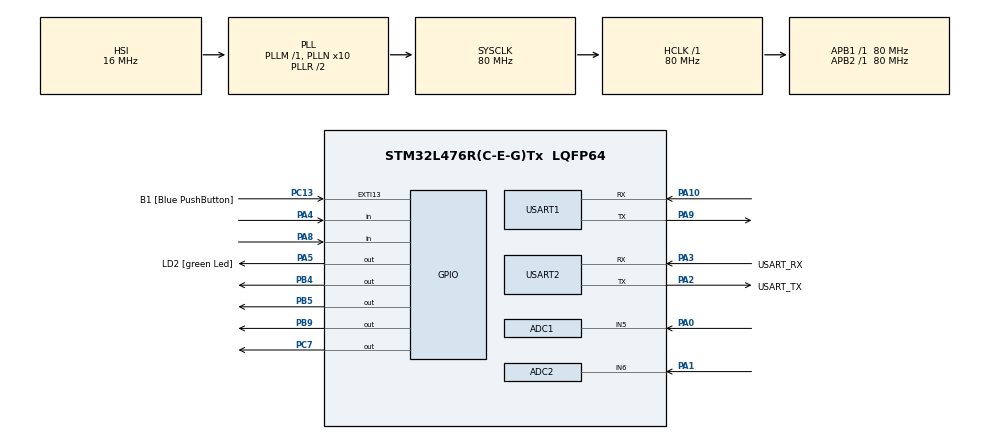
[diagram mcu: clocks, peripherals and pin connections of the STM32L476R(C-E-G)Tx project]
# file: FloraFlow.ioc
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ADC1.Channel-1\#ChannelRegularConversion=ADC_CHANNEL_5
ADC1.NbrOfConversionFlag=1
ADC1.OffsetNumber-1\#ChannelRegularConversion=ADC_OFFSET_NONE
ADC1.Rank-1\#ChannelRegularConversion=1
ADC1.SamplingTime-1\#ChannelRegularConversion=ADC_SAMPLETIME_2CYCLES_5
ADC1.master=1
ADC2.Channel-0\#ChannelRegularConversion=ADC_CHANNEL_6
ADC2.NbrOfConversionFlag=1
ADC2.OffsetNumber-0\#ChannelRegularConversion=ADC_OFFSET_NONE
ADC2.Rank-0\#ChannelRegularConversion=1
ADC2.SamplingTime-0\#ChannelRegularConversion=ADC_SAMPLETIME_2CYCLES_5
Mcu.Family=STM32L4
Mcu.Name=STM32L476R(C-E-G)Tx
Mcu.Package=LQFP64
NVIC.PriorityGroup=NVIC_PRIORITYGROUP_4
PA0.Signal=ADCx_IN5
PA1.Signal=ADCx_IN6
PA10.Mode=Asynchronous
PA10.Signal=USART1_RX
PA13\ (JTMS-SWDIO).GPIO_Label=TMS
PA13\ (JTMS-SWDIO).Mode=Serial_Wire
PA13\ (JTMS-SWDIO).Signal=SYS_JTMS-SWDIO
PA14\ (JTCK-SWCLK).GPIO_Label=TCK
PA14\ (JTCK-SWCLK).Mode=Serial_Wire
PA14\ (JTCK-SWCLK).Signal=SYS_JTCK-SWCLK
PA2.GPIO_Label=USART_TX
PA2.GPIO_Mode=GPIO_MODE_AF_PP
PA2.GPIO_PuPd=GPIO_NOPULL
PA2.GPIO_Speed=GPIO_SPEED_FREQ_VERY_HIGH
PA2.Mode=Asynchronous
PA2.Signal=USART2_TX
PA3.GPIO_Label=USART_RX
PA3.GPIO_Mode=GPIO_MODE_AF_PP
PA3.GPIO_PuPd=GPIO_NOPULL
PA3.GPIO_Speed=GPIO_SPEED_FREQ_VERY_HIGH
PA3.Mode=Asynchronous
PA3.Signal=USART2_RX
PA4.Signal=GPIO_Input
PA5.GPIO_Label=LD2 [green Led]
PA5.GPIO_ModeDefaultOutputPP=GPIO_MODE_OUTPUT_PP
PA5.GPIO_PuPd=GPIO_NOPULL
PA5.GPIO_Speed=GPIO_SPEED_FREQ_LOW
PA5.Signal=GPIO_Output
PA8.Signal=GPIO_Input
PA9.Mode=Asynchronous
PA9.Signal=USART1_TX
PB3\ (JTDO-TRACESWO).GPIO_Label=SWO
PB3\ (JTDO-TRACESWO).Signal=SYS_JTDO-SWO
PB4\ (NJTRST).Signal=GPIO_Output
PB5.Signal=GPIO_Output
PB9.Signal=GPIO_Output
PC13.GPIO_Label=B1 [Blue PushButton]
PC13.GPIO_ModeDefaultEXTI=GPIO_MODE_IT_FALLING
PC13.GPIO_PuPd=GPIO_NOPULL
PC13.Signal=GPXTI13
PC14-OSC32_IN\ (PC14).Mode=LSE-External-Oscillator
PC14-OSC32_IN\ (PC14).Signal=RCC_OSC32_IN
PC15-OSC32_OUT\ (PC15).Mode=LSE-External-Oscillator
PC15-OSC32_OUT\ (PC15).Signal=RCC_OSC32_OUT
PC7.Signal=GPIO_Output
PH0-OSC_IN\ (PH0).Signal=RCC_OSC_IN
PH1-OSC_OUT\ (PH1).Signal=RCC_OSC_OUT
ProjectManager.HeapSize=0x200
ProjectManager.StackSize=0x400
ProjectManager.TargetToolchain=STM32CubeIDE
RCC.ADCFreq_Value=64000000
RCC.AHBFreq_Value=80000000
RCC.APB1Freq_Value=80000000
RCC.APB1TimFreq_Value=80000000
RCC.APB2Freq_Value=80000000
RCC.APB2TimFreq_Value=80000000
RCC.CortexFreq_Value=80000000
RCC.HCLKFreq_Value=80000000
RCC.HSE_VALUE=8000000
RCC.HSI_VALUE=16000000
RCC.MSI_VALUE=4000000
RCC.PLLN=10
RCC.PLLSourceVirtual=RCC_PLLSOURCE_HSI
RCC.PREFETCH_ENABLE=1
RCC.SYSCLKFreq_VALUE=80000000
RCC.SYSCLKSource=RCC_SYSCLKSOURCE_PLLCLK
RCC.USBFreq_Value=64000000
RCC.VCOOutputFreq_Value=160000000
SH.ADCx_IN5.0=ADC1_IN5,IN5-Single-Ended
SH.ADCx_IN6.0=ADC2_IN6,IN6-Single-Ended
SH.ADCx_IN6.1=ADC1_IN6
USART1.VirtualMode-Asynchronous=VM_ASYNC
USART2.VirtualMode-Asynchronous=VM_ASYNC
board=NUCLEO-L476RG

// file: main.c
/* USER CODE BEGIN Header */
/**
  ******************************************************************************
  * @file           : main.c
  * @brief          : Main program body
  ******************************************************************************
  * @attention
  *
  * Copyright (c) 2024 STMicroelectronics.
  * All rights reserved.
  *
  * This software is licensed under terms that can be found in the LICENSE file
  * in the root directory of this software component.
  * If no LICENSE file comes with this software, it is provided AS-IS.
  *
  ******************************************************************************
  */
/* USER CODE END Header */
#include "main.h"

ADC_HandleTypeDef hadc1;
ADC_HandleTypeDef hadc2;

UART_HandleTypeDef huart1;
UART_HandleTypeDef huart2;

/* USER CODE BEGIN PV */

// O medidor de umidade vai de 1100 (molhado) a 4095 (seco)
int16_t REGAR_SUCULENTA = 3600; // precisa de - água
int16_t TEMPO_SUCULENTA = 2000;

int16_t REGAR_JIBOIA = 3400; // precisa de +/- água
int16_t TEMPO_JIBOIA = 3000;

int16_t REGAR_ROSA = 3200; // precisa de + água
int16_t TEMPO_ROSA = 4000;

int16_t humidity_value = 0;
int16_t water_time = 0;

typedef enum {
    ESPERANDO,
	MEDINDO_UMIDADE,
    REGANDO_PLANTA,
	IRRIGACAO_FINALIZADA
} State;

/* USER CODE END PV */

void SystemClock_Config(void);
void PeriphCommonClock_Config(void);
static void MX_GPIO_Init(void);
static void MX_USART2_UART_Init(void);
static void MX_ADC1_Init(void);
static void MX_ADC2_Init(void);
static void MX_USART1_UART_Init(void);
/* USER CODE BEGIN PFP */
int16_t readPotVoltage(void);
int16_t readSensorVoltage(void);
void showState(State state);
void turnRedLedOn(void);
void turnYellowLedOn(void);
void turnBlueLedOn(void);
void turnGreenLedOn(void);
void turnLedsOff(void);
void sendChar(unsigned char c, int uart_number);
void sendString(char * str, int uart_number);
char readChar(int uart_number);
/* USER CODE END PFP */

/* USER CODE BEGIN 0 */

void sendChar(unsigned char c, int uart_number){
	unsigned char pChar = c;
	if(uart_number == 1)
		HAL_UART_Transmit(&huart1, &pChar,1 ,HAL_MAX_DELAY );
	else if(uart_number == 2)
		HAL_UART_Transmit(&huart2, &pChar, 1,HAL_MAX_DELAY );
}

void sendString(char * str, int uart_number){
	if(uart_number == 1)
		HAL_UART_Transmit(&huart1, (uint8_t *)str, strlen(str) ,HAL_MAX_DELAY );
	else if(uart_number == 2)
		HAL_UART_Transmit(&huart2, (uint8_t *)str, strlen(str) ,HAL_MAX_DELAY );
}

char readChar(int uart_number){
	unsigned char caracter;

	if(uart_number == 1){
		while(HAL_UART_Receive(&huart1, &caracter, 1, HAL_MAX_DELAY) != HAL_OK);
	}
	else if(uart_number == 2){
		while(HAL_UART_Receive(&huart2, &caracter, 1, HAL_MAX_DELAY) != HAL_OK);
	}
	return caracter;
}

/* USER CODE END 0 */

int main(void)
{

  /* MCU Configuration--------------------------------------------------------*/

  /* Reset of all peripherals, Initializes the Flash interface and the Systick. */
  HAL_Init();

  /* Configure the system clock */
  SystemClock_Config();

/* Configure the peripherals common clocks */
  PeriphCommonClock_Config();

  /* Initialize all configured peripherals */
  MX_GPIO_Init();
  MX_USART2_UART_Init();
  MX_ADC1_Init();
  MX_ADC2_Init();
  MX_USART1_UART_Init();

  /* Infinite loop */
  /* USER CODE BEGIN WHILE */

  // Enquanto o botão não for clicado
  while(!HAL_GPIO_ReadPin(GPIOA, GPIO_PIN_8)) {
	  // Ler o potenciômetro e escolher a planta a partir do valor dele
	  int voltage = readPotVoltage();

	  if(voltage > 0 && voltage < 1000) {
		  humidity_value = REGAR_SUCULENTA;
		  water_time = TEMPO_SUCULENTA;
		  turnRedLedOn();
	  } else if(voltage > 1000 && voltage < 2500) {
		  humidity_value = REGAR_JIBOIA;
		  water_time = TEMPO_JIBOIA;
		  turnYellowLedOn();
	  } else if (voltage > 2500) {
		  humidity_value = REGAR_ROSA;
		  water_time = TEMPO_ROSA;
		  turnBlueLedOn();
	  } else {
		  humidity_value = REGAR_ROSA;
		  water_time = TEMPO_ROSA;
		  turnBlueLedOn();
	  }

  }

  if(humidity_value == REGAR_SUCULENTA) {
  	sendString("Suculenta\n", 1);
  } else if(humidity_value == REGAR_JIBOIA) {
	sendString("Jiboia\n", 1);
  } else if (humidity_value == REGAR_ROSA) {
	sendString("Rosa\n", 1);
  }

  turnLedsOff();
  State current_state = ESPERANDO;

  while (1)
  {

	int16_t voltageSensor = 0;
	showState(current_state);
    /* USER CODE END WHILE */

    /* USER CODE BEGIN 3 */

	switch(current_state) {
		case ESPERANDO:
			// Simulando o tempo de iniciar a aplicação
			HAL_Delay(3000);
			current_state = MEDINDO_UMIDADE;

		break;

		case MEDINDO_UMIDADE:
			// Ler o medidor de umidade
			voltageSensor = readSensorVoltage(); //4054 (seco) - 1200 (molhado)

			if(voltageSensor >= humidity_value) {
				// Iniciar a irrigação caso a umidade esteja menor que o valor necessário
				current_state = REGANDO_PLANTA;
			}

		break;

		case REGANDO_PLANTA:
			// Finalizar a irrigação caso a umidade esteja maior que o valor necessário
			current_state = IRRIGACAO_FINALIZADA;
		break;

		case IRRIGACAO_FINALIZADA:
			// Simulando o tempo de espera para medir novamente
			HAL_Delay(3000);

			current_state = MEDINDO_UMIDADE;

		break;
	}

  }
  /* USER CODE END 3 */
}

void SystemClock_Config(void)
{
  RCC_OscInitTypeDef RCC_OscInitStruct = {0};
  RCC_ClkInitTypeDef RCC_ClkInitStruct = {0};

  /** Configure the main internal regulator output voltage
  */
  if (HAL_PWREx_ControlVoltageScaling(PWR_REGULATOR_VOLTAGE_SCALE1) != HAL_OK)
  {
    Error_Handler();
  }

  /** Initializes the RCC Oscillators according to the specified parameters
  * in the RCC_OscInitTypeDef structure.
  */
  RCC_OscInitStruct.OscillatorType = RCC_OSCILLATORTYPE_HSI;
  RCC_OscInitStruct.HSIState = RCC_HSI_ON;
  RCC_OscInitStruct.HSICalibrationValue = RCC_HSICALIBRATION_DEFAULT;
  RCC_OscInitStruct.PLL.PLLState = RCC_PLL_ON;
  RCC_OscInitStruct.PLL.PLLSource = RCC_PLLSOURCE_HSI;
  RCC_OscInitStruct.PLL.PLLM = 1;
  RCC_OscInitStruct.PLL.PLLN = 10;
  RCC_OscInitStruct.PLL.PLLP = RCC_PLLP_DIV7;
  RCC_OscInitStruct.PLL.PLLQ = RCC_PLLQ_DIV2;
  RCC_OscInitStruct.PLL.PLLR = RCC_PLLR_DIV2;
  if (HAL_RCC_OscConfig(&RCC_OscInitStruct) != HAL_OK)
  {
    Error_Handler();
  }

  /** Initializes the CPU, AHB and APB buses clocks
  */
  RCC_ClkInitStruct.ClockType = RCC_CLOCKTYPE_HCLK|RCC_CLOCKTYPE_SYSCLK
                              |RCC_CLOCKTYPE_PCLK1|RCC_CLOCKTYPE_PCLK2;
  RCC_ClkInitStruct.SYSCLKSource = RCC_SYSCLKSOURCE_PLLCLK;
  RCC_ClkInitStruct.AHBCLKDivider = RCC_SYSCLK_DIV1;
  RCC_ClkInitStruct.APB1CLKDivider = RCC_HCLK_DIV1;
  RCC_ClkInitStruct.APB2CLKDivider = RCC_HCLK_DIV1;

  if (HAL_RCC_ClockConfig(&RCC_ClkInitStruct, FLASH_LATENCY_4) != HAL_OK)
  {
    Error_Handler();
  }
}

void PeriphCommonClock_Config(void)
{
  RCC_PeriphCLKInitTypeDef PeriphClkInit = {0};

  /** Initializes the peripherals clock
  */
  PeriphClkInit.PeriphClockSelection = RCC_PERIPHCLK_ADC;
  PeriphClkInit.AdcClockSelection = RCC_ADCCLKSOURCE_PLLSAI1;
  PeriphClkInit.PLLSAI1.PLLSAI1Source = RCC_PLLSOURCE_HSI;
  PeriphClkInit.PLLSAI1.PLLSAI1M = 1;
  PeriphClkInit.PLLSAI1.PLLSAI1N = 8;
  PeriphClkInit.PLLSAI1.PLLSAI1P = RCC_PLLP_DIV7;
  PeriphClkInit.PLLSAI1.PLLSAI1Q = RCC_PLLQ_DIV2;
  PeriphClkInit.PLLSAI1.PLLSAI1R = RCC_PLLR_DIV2;
  PeriphClkInit.PLLSAI1.PLLSAI1ClockOut = RCC_PLLSAI1_ADC1CLK;
  if (HAL_RCCEx_PeriphCLKConfig(&PeriphClkInit) != HAL_OK)
  {
    Error_Handler();
  }
}

static void MX_ADC1_Init(void)
{

  ADC_MultiModeTypeDef multimode = {0};
  ADC_ChannelConfTypeDef sConfig = {0};

  /** Common config
  */
  hadc1.Instance = ADC1;
  hadc1.Init.ClockPrescaler = ADC_CLOCK_ASYNC_DIV1;
  hadc1.Init.Resolution = ADC_RESOLUTION_12B;
  hadc1.Init.DataAlign = ADC_DATAALIGN_RIGHT;
  hadc1.Init.ScanConvMode = ADC_SCAN_DISABLE;
  hadc1.Init.EOCSelection = ADC_EOC_SINGLE_CONV;
  hadc1.Init.LowPowerAutoWait = DISABLE;
  hadc1.Init.ContinuousConvMode = DISABLE;
  hadc1.Init.NbrOfConversion = 1;
  hadc1.Init.DiscontinuousConvMode = DISABLE;
  hadc1.Init.ExternalTrigConv = ADC_SOFTWARE_START;
  hadc1.Init.ExternalTrigConvEdge = ADC_EXTERNALTRIGCONVEDGE_NONE;
  hadc1.Init.DMAContinuousRequests = DISABLE;
  hadc1.Init.Overrun = ADC_OVR_DATA_PRESERVED;
  hadc1.Init.OversamplingMode = DISABLE;
  if (HAL_ADC_Init(&hadc1) != HAL_OK)
  {
    Error_Handler();
  }

  /** Configure the ADC multi-mode
  */
  multimode.Mode = ADC_MODE_INDEPENDENT;
  if (HAL_ADCEx_MultiModeConfigChannel(&hadc1, &multimode) != HAL_OK)
  {
    Error_Handler();
  }

  /** Configure Regular Channel
  */
  sConfig.Channel = ADC_CHANNEL_5;
  sConfig.Rank = ADC_REGULAR_RANK_1;
  sConfig.SamplingTime = ADC_SAMPLETIME_2CYCLES_5;
  sConfig.SingleDiff = ADC_SINGLE_ENDED;
  sConfig.OffsetNumber = ADC_OFFSET_NONE;
  sConfig.Offset = 0;
  if (HAL_ADC_ConfigChannel(&hadc1, &sConfig) != HAL_OK)
  {
    Error_Handler();
  }

}

static void MX_ADC2_Init(void)
{

  ADC_ChannelConfTypeDef sConfig = {0};

  /** Common config
  */
  hadc2.Instance = ADC2;
  hadc2.Init.ClockPrescaler = ADC_CLOCK_ASYNC_DIV1;
  hadc2.Init.Resolution = ADC_RESOLUTION_12B;
  hadc2.Init.DataAlign = ADC_DATAALIGN_RIGHT;
  hadc2.Init.ScanConvMode = ADC_SCAN_DISABLE;
  hadc2.Init.EOCSelection = ADC_EOC_SINGLE_CONV;
  hadc2.Init.LowPowerAutoWait = DISABLE;
  hadc2.Init.ContinuousConvMode = DISABLE;
  hadc2.Init.NbrOfConversion = 1;
  hadc2.Init.DiscontinuousConvMode = DISABLE;
  hadc2.Init.ExternalTrigConv = ADC_SOFTWARE_START;
  hadc2.Init.ExternalTrigConvEdge = ADC_EXTERNALTRIGCONVEDGE_NONE;
  hadc2.Init.DMAContinuousRequests = DISABLE;
  hadc2.Init.Overrun = ADC_OVR_DATA_PRESERVED;
  hadc2.Init.OversamplingMode = DISABLE;
  if (HAL_ADC_Init(&hadc2) != HAL_OK)
  {
    Error_Handler();
  }

  /** Configure Regular Channel
  */
  sConfig.Channel = ADC_CHANNEL_6;
  sConfig.Rank = ADC_REGULAR_RANK_1;
  sConfig.SamplingTime = ADC_SAMPLETIME_2CYCLES_5;
  sConfig.SingleDiff = ADC_SINGLE_ENDED;
  sConfig.OffsetNumber = ADC_OFFSET_NONE;
  sConfig.Offset = 0;
  if (HAL_ADC_ConfigChannel(&hadc2, &sConfig) != HAL_OK)
  {
    Error_Handler();
  }

}

static void MX_USART1_UART_Init(void)
{

  huart1.Instance = USART1;
  huart1.Init.BaudRate = 115200;
  huart1.Init.WordLength = UART_WORDLENGTH_8B;
  huart1.Init.StopBits = UART_STOPBITS_1;
  huart1.Init.Parity = UART_PARITY_NONE;
  huart1.Init.Mode = UART_MODE_TX_RX;
  huart1.Init.HwFlowCtl = UART_HWCONTROL_NONE;
  huart1.Init.OverSampling = UART_OVERSAMPLING_16;
  huart1.Init.OneBitSampling = UART_ONE_BIT_SAMPLE_DISABLE;
  huart1.AdvancedInit.AdvFeatureInit = UART_ADVFEATURE_NO_INIT;
  if (HAL_UART_Init(&huart1) != HAL_OK)
  {
    Error_Handler();
  }

}

static void MX_USART2_UART_Init(void)
{

  huart2.Instance = USART2;
  huart2.Init.BaudRate = 115200;
  huart2.Init.WordLength = UART_WORDLENGTH_8B;
  huart2.Init.StopBits = UART_STOPBITS_1;
  huart2.Init.Parity = UART_PARITY_NONE;
  huart2.Init.Mode = UART_MODE_TX_RX;
  huart2.Init.HwFlowCtl = UART_HWCONTROL_NONE;
  huart2.Init.OverSampling = UART_OVERSAMPLING_16;
  huart2.Init.OneBitSampling = UART_ONE_BIT_SAMPLE_DISABLE;
  huart2.AdvancedInit.AdvFeatureInit = UART_ADVFEATURE_NO_INIT;
  if (HAL_UART_Init(&huart2) != HAL_OK)
  {
    Error_Handler();
  }

}

static void MX_GPIO_Init(void)
{
  GPIO_InitTypeDef GPIO_InitStruct = {0};

  /* GPIO Ports Clock Enable */
  __HAL_RCC_GPIOC_CLK_ENABLE();
  __HAL_RCC_GPIOH_CLK_ENABLE();
  __HAL_RCC_GPIOA_CLK_ENABLE();
  __HAL_RCC_GPIOB_CLK_ENABLE();

  /*Configure GPIO pin Output Level */
  HAL_GPIO_WritePin(LD2_GPIO_Port, LD2_Pin, GPIO_PIN_RESET);

  /*Configure GPIO pin Output Level */
  HAL_GPIO_WritePin(GPIOC, GPIO_PIN_7, GPIO_PIN_RESET);

  /*Configure GPIO pin Output Level */
  HAL_GPIO_WritePin(GPIOB, GPIO_PIN_4|GPIO_PIN_5|GPIO_PIN_9, GPIO_PIN_RESET);

  /*Configure GPIO pin : B1_Pin */
  GPIO_InitStruct.Pin = B1_Pin;
  GPIO_InitStruct.Mode = GPIO_MODE_IT_FALLING;
  GPIO_InitStruct.Pull = GPIO_NOPULL;
  HAL_GPIO_Init(B1_GPIO_Port, &GPIO_InitStruct);

  /*Configure GPIO pins : PA4 PA8 */
  GPIO_InitStruct.Pin = GPIO_PIN_4|GPIO_PIN_8;
  GPIO_InitStruct.Mode = GPIO_MODE_INPUT;
  GPIO_InitStruct.Pull = GPIO_PULLDOWN;
  HAL_GPIO_Init(GPIOA, &GPIO_InitStruct);

  /*Configure GPIO pin : LD2_Pin */
  GPIO_InitStruct.Pin = LD2_Pin;
  GPIO_InitStruct.Mode = GPIO_MODE_OUTPUT_PP;
  GPIO_InitStruct.Pull = GPIO_NOPULL;
  GPIO_InitStruct.Speed = GPIO_SPEED_FREQ_LOW;
  HAL_GPIO_Init(LD2_GPIO_Port, &GPIO_InitStruct);

  /*Configure GPIO pin : PC7 */
  GPIO_InitStruct.Pin = GPIO_PIN_7;
  GPIO_InitStruct.Mode = GPIO_MODE_OUTPUT_PP;
  GPIO_InitStruct.Pull = GPIO_NOPULL;
  GPIO_InitStruct.Speed = GPIO_SPEED_FREQ_LOW;
  HAL_GPIO_Init(GPIOC, &GPIO_InitStruct);

  /*Configure GPIO pins : PB4 PB5 PB9 */
  GPIO_InitStruct.Pin = GPIO_PIN_4|GPIO_PIN_5|GPIO_PIN_9;
  GPIO_InitStruct.Mode = GPIO_MODE_OUTPUT_PP;
  GPIO_InitStruct.Pull = GPIO_NOPULL;
  GPIO_InitStruct.Speed = GPIO_SPEED_FREQ_LOW;
  HAL_GPIO_Init(GPIOB, &GPIO_InitStruct);

}

/* USER CODE BEGIN 4 */
int16_t readPotVoltage(void){
	// Potenciômetro
	HAL_ADC_Start(&hadc1);
	HAL_ADC_PollForConversion(&hadc1, HAL_MAX_DELAY);
	return HAL_ADC_GetValue(&hadc1);
}

int16_t readSensorVoltage(void){
	// Sensor de umidade
	HAL_ADC_Start(&hadc2);
	HAL_ADC_PollForConversion(&hadc2, HAL_MAX_DELAY);
	return HAL_ADC_GetValue(&hadc2);
}

void turnRedLedOn(void) {
	HAL_GPIO_WritePin(GPIOB, GPIO_PIN_5, 0);
	HAL_GPIO_WritePin(GPIOC, GPIO_PIN_7, 0);
	HAL_GPIO_WritePin(GPIOB, GPIO_PIN_4, 1);
}

void turnYellowLedOn(void) {
	HAL_GPIO_WritePin(GPIOC, GPIO_PIN_7, 0);
	HAL_GPIO_WritePin(GPIOB, GPIO_PIN_4, 0);
	HAL_GPIO_WritePin(GPIOB, GPIO_PIN_5, 1);
}

void turnBlueLedOn(void) {
	HAL_GPIO_WritePin(GPIOB, GPIO_PIN_4, 0);
	HAL_GPIO_WritePin(GPIOB, GPIO_PIN_5, 0);
	HAL_GPIO_WritePin(GPIOC, GPIO_PIN_7, 1);
}

void turnGreenLedOn(void) {
	HAL_GPIO_WritePin(GPIOB, GPIO_PIN_4, 0);
	HAL_GPIO_WritePin(GPIOB, GPIO_PIN_5, 0);
	HAL_GPIO_WritePin(GPIOC, GPIO_PIN_7, 0);
}

void turnLedsOff(void) {
	HAL_GPIO_WritePin(GPIOB, GPIO_PIN_4, 0);
	HAL_GPIO_WritePin(GPIOB, GPIO_PIN_5, 0);
	HAL_GPIO_WritePin(GPIOC, GPIO_PIN_7, 0);
}

void showState(State state){
	switch(state){
		case ESPERANDO:
			HAL_GPIO_WritePin(GPIOB, GPIO_PIN_9, 0);
			turnRedLedOn();
		break;

		case MEDINDO_UMIDADE:
			HAL_GPIO_WritePin(GPIOB, GPIO_PIN_9, 0);
			turnYellowLedOn();
		break;

		case REGANDO_PLANTA:
			HAL_GPIO_WritePin(GPIOB, GPIO_PIN_9, 1);
			turnBlueLedOn();
			// Simulando o tempo de rega da planta
			HAL_Delay(water_time);
		break;

		case IRRIGACAO_FINALIZADA:
			HAL_GPIO_WritePin(GPIOB, GPIO_PIN_9, 0);
			turnRedLedOn();
		break;
	}
}
/* USER CODE END 4 */

void Error_Handler(void)
{
  __disable_irq();
  while (1)
  {
  }
}
